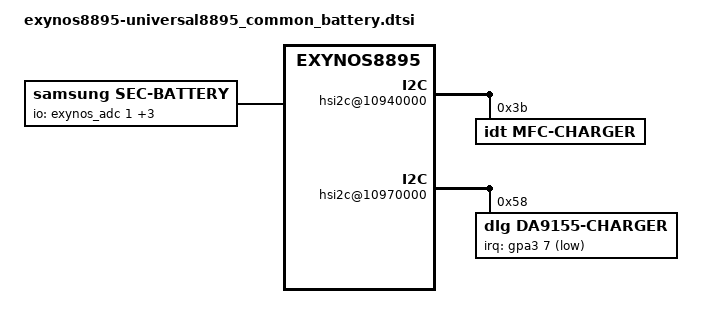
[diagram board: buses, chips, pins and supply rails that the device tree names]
/*
 * SAMSUNG UNIVERSAL5433 board device tree source
 *
 * Copyright (c) 2013 Samsung Electronics Co., Ltd.
 *		http://www.samsung.com
 *
 * This program is free software; you can redistribute it and/or modify
 * it under the terms of the GNU General Public License version 2 as
 * published by the Free Software Foundation.
*/

/ {
	pinctrl@164B0000 {
		wpc_int: wpc-int {
			samsung,pins = "gpa3-2";
			samsung,pin-function = <0xf>;
			samsung,pin-pud = <0>;
			samsung,pin-drv = <0>;
		};

		wpc_det: wpc-det {
			samsung,pins = "gpa2-0";
			samsung,pin-function = <0xf>;
			samsung,pin-pud = <1>;
		};

		da9155_irq: da9155-irq {
			samsung,pins = "gpa3-7";
			samsung,pin-function = <0xf>;
			samsung,pin-pud = <0>;
			samsung,pin-drv = <0>;
		};
	};

	pinctrl@10980000 {
		wpc_en: wpc-en {
			samsung,pins = "gpe6-2";
			samsung,pin-function = <1>;
			samsung,pin-pud = <0>;
			samsung,pin-drv = <0>;
		};
	};

	hsi2c@10940000 { /* hsi2c_usi12_0 */
		status = "okay";

		mfc-charger@3b {
			compatible = "idt,mfc-charger";
			reg = <0x3b>;
			status = "okay";

			pinctrl-names = "default";
			pinctrl-0 = <&wpc_int &wpc_det &wpc_en>;

			battery,wpc_int = <&gpa3 2 0>;
			battery,wpc_det = <&gpa2 0 0>;

			battery,charger_name = "max77854-charger";
			battery,wireless_charger_name = "mfc-charger";
			battery,fod_wpc_data = <204 12 150 30 130 57 130 57 157 8 157 9>;
			battery,fod_pma_data = <204 12 150 30 130 57 130 57 157 8 157 9>;
			battery,fod_a4wp_data = <204 12 150 30 130 57 130 57 157 8 157 9>;
			battery,fod_wpc_data_cv = <204 42 150 60 130 87 130 87 157 38 157 39>;
			battery,fod_pma_data_cv = <204 42 150 60 130 87 130 87 157 38 157 39>;
			battery,fod_a4wp_data_cv = <204 42 150 60 130 87 130 87 157 38 157 39>;
			battery,wpc_cc_cv_vout = <5500>;
			battery,wpc_cv_call_vout = <5000>;
			battery,wpc_cc_call_vout = <5000>;
			battery,hv_vout_wa = <0x41>; /* WC vout 10.0V */
		};
	};

	hsi2c@10970000 { /* hsi2c_usi13_1 */
		status = "okay";
		da9155-charger@58 {
			status = "okay";
			compatible = "dlg,da9155-charger";
			pinctrl-names = "default";
			pinctrl-0 = <&da9155_irq>;
			reg = <0x58>;
			da9155-charger,irq-gpio = <&gpa3 7 1>;
		};
	};

	battery {
		status = "okay";
		compatible = "samsung,sec-battery";

		pinctrl-names = "default";
		/* battery,irq_gpio = <&gpa1 6 0>; */

		battery,vendor = "SDI SDI";
		battery,charger_name = "sec-multi-charger";
		battery,fuelgauge_name = "max77854-fuelgauge";
		battery,wireless_charger_name = "mfc-charger";
		battery,technology = <2>; /* POWER_SUPPLY_TECHNOLOGY_LION */
		battery,fgsrc_switch_name = "max77854-charger"; /* Fuelgauge voltage source */

		battery,batt_data_version = <2>;

		battery,chip_vendor = "LSI";
		battery,temp_adc_type = <0>; /* SEC_BATTERY_ADC_TYPE_AP */

		battery,chg_thermal_source = <1>;
		battery,chg_temp_check = <0>;
		battery,slave_chg_temp_check = <0>;
		battery,wpc_thermal_source = <1>;
		battery,wpc_temp_check = <0>;

		battery,polling_time = <10 30 30 30 3600>;

		battery,temp_table_adc = <416 473 555 649 756 832 886 940 1025 1094 1127 1196 1269 1384 1588
						1809 1947 2041 2276 2515 2745 2960 3037 3157 3261 3329 3385 3470 3593 3701>;
		battery,temp_table_data = <800 750 700 650 600 570 550 530 500 480 470 450 430 400 360
						310 280 260 210 160 100 50 30 0 (-30) (-50) (-70) (-100) (-150) (-200)>;

		battery,chg_temp_table_adc = <395 472 556 645 754 824 870 934 1017 1084 1104 1190 1263 1378 1498
						1663 1798 1922 2028 2265 2507 2723 2944 3027 3145 3248 3313 3381 3465 3583 3690>;
		battery,chg_temp_table_data = <800 750 700 650 600 570 550 530 500 480 470 450 430 400 370
						350 330 300 270 250 200 150 100 50 30 0 (-30) (-50) (-70) (-100) (-150) (-200)>;

		battery,wpc_temp_table_adc = <395 472 556 645 754 824 870 934 1017 1084 1104 1190 1263 1378 1498
						1663 1798 1922 2028 2265 2507 2723 2944 3027 3145 3248 3313 3381 3465 3583 3690>;
		battery,wpc_temp_table_data = <800 750 700 650 600 570 550 530 500 480 470 450 430 400 370
						350 330 300 270 250 200 150 100 50 30 0 (-30) (-50) (-70) (-100) (-150) (-200)>;

		battery,input_current_limit = <2000 450 450 2000 500 900 1500 460 1000 450 900 900 900 1900 2000 450 450 400 700 1300 300 1000 1500 450 1675 2000 1000 1675 80 1800 1675 1400 1000 1000 700 900 900 900 500 2000>;
		battery,fast_charging_current = <2100 450 450 2100 800 1200 1500 460 1200 450 2100 2100 2100 1600 2100 450 450 400 700 1300 300 1000 1500 450 3000 3500 1000 3000 80 1800 1000 1400 450 1000 2100 2100 2100 2100 450 3000>;
		battery,full_check_current_1st = <350 0 0 350 350 350 350 350 350 0 350 350 350 350 350 0 0 350 350 350 350 350 350 0 350 350 350 350 0 350 350 350 0 350 350 350 350 350 350 350>;
		battery,full_check_current_2nd = <150 0 0 150 150 150 150 150 150 0 150 150 150 150 150 0 0 150 150 150 150 150 150 0 150 150 150 150 0 150 150 150 0 150 150 150 150 150 150 150>;

		battery,wireless_cc_cv = <85>;
		battery,fod_data = <204 9 150 28 130 55 130 57 157 5 157 6>;
		battery,fod_data_cv = <204 39 150 58 130 85 130 87 157 35 157 36>;
		battery,wpc_cc_cv_vout = <5500>;
		battery,wpc_cv_call_vout = <5000>;
		battery,wpc_cc_call_vout = <5000>;
		battery,wpc_det = <&gpa2 0 0>;
		battery,wpc_en = <&gpi1 2 0>;
		battery,wpc_int = <&gpa3 2 0>;
		battery,hv_vout_wa = <0x41>; /* WC vout 10.0V */
		battery,adc_check_count = <5>;

		battery,cable_check_type = <4>; /* SEC_BATTERY_CABLE_CHECK_PSY */
		battery,cable_source_type = <1>; /* SEC_BATTERY_CABLE_SOURCE_EXTERNAL */
		battery,polling_type = <1>; /* SEC_BATTERY_MONITOR_ALARM */
		battery,monitor_initial_count = <0>;

		battery,battery_check_type = <0>; /* SEC_BATTERY_CHECK_NONE */
		battery,check_count = <0>;
		battery,check_adc_max = <1440>;
		battery,check_adc_min = <0>;

		battery,ovp_uvlo_check_type = <3>; /* SEC_BATTERY_OVP_UVLO_CHGPOLLING */

		battery,thermal_source = <0>; /* SEC_BATTERY_THERMAL_SOURCE_ADC */

		battery,temp_check_type = <0>; /* SEC_BATTERY_TEMP_CHECK_TEMP */
		battery,temp_check_count = <1>;
		battery,temp_highlimit_threshold_event = <800>;
		battery,temp_highlimit_recovery_event = <750>;
		battery,temp_high_threshold_event = <550>;
		battery,temp_high_recovery_event = <500>;
		battery,temp_low_threshold_event = <(-50)>;
		battery,temp_low_recovery_event = <0>;
		battery,temp_highlimit_threshold_normal = <800>;
		battery,temp_highlimit_recovery_normal = <750>;
		battery,temp_high_threshold_normal = <550>;
		battery,temp_high_recovery_normal = <500>;
		battery,temp_low_threshold_normal = <(-50)>;
		battery,temp_low_recovery_normal = <0>;
		battery,temp_highlimit_threshold_lpm = <800>;
		battery,temp_highlimit_recovery_lpm = <750>;
		battery,temp_high_threshold_lpm = <550>;
		battery,temp_high_recovery_lpm = <500>;
		battery,temp_low_threshold_lpm = <(-50)>;
		battery,temp_low_recovery_lpm = <0>;
		battery,full_check_type = <7>; /* SEC_BATTERY_FULLCHARGED_CHGPSY */
		battery,full_check_type_2nd = <7>; /* SEC_BATTERY_FULLCHARGED_CHGPSY */
		battery,full_check_count = <1>;
		battery,chg_gpio_full_check = <0>;
		battery,chg_polarity_full_check = <1>;

		battery,chg_12v_high_temp = <615>;
		battery,chg_high_temp = <500>;
		battery,chg_high_temp_recovery = <495>;
		/* battery,chg_charging_limit_current = <1100>; */

		battery,wpc_high_temp = <460 490>;
		battery,wpc_high_temp_recovery = <459 400>;
		battery,wpc_charging_limit_current = <540 400>;
		battery,wpc_lcd_on_high_temp = <470>;
		battery,wpc_lcd_on_high_temp_rec = <300>;
		battery,wpc_hv_lcd_on_input_limit_current = <400>;

		battery,sleep_mode_limit_current = <500>;
		battery,wc_full_input_limit_current = <100>;
		battery,wc_heating_input_limit_current = <400>;
		battery,wc_heating_time = <300>; /* 5 min */
		battery,wc_cv_current = <820>;
		battery,wc_cv_pack_current = <630>;

		battery,mix_high_temp = <420>;
		battery,mix_high_chg_temp = <500>;
		battery,mix_high_temp_recovery = <390>;

		/* SEC_BATTERY_FULL_CONDITION_SOC |
		   SEC_BATTERY_FULL_CONDITION_NOTIMEFULL |
		   SEC_BATTERY_FULL_CONDITION_VCELL */
		battery,full_condition_type = <13>;
		battery,full_condition_soc = <93>;
		battery,full_condition_vcell = <4275>;

		battery,recharge_check_count = <1>;
		battery,recharge_condition_type = <4>; /* SEC_BATTERY_RECHARGE_CONDITION_VCELL */
		battery,recharge_condition_soc = <98>;
		battery,recharge_condition_vcell = <4300>;

		battery,charging_total_time = <21600>;
		battery,recharging_total_time = <5400>;
		battery,charging_reset_time = <0>;

		battery,chg_float_voltage = <43625>;

		battery,swelling_high_temp_block = <450>;
		battery,swelling_high_temp_recov = <400>;
		battery,swelling_low_temp_block = <100>;
		battery,swelling_low_temp_recov = <150>;
		battery,swelling_low_temp_additional = <50>;

		battery,swelling_low_temp_current = <1750>;	/* 0.5C */
		battery,swelling_low_temp_additional_current = <700>;	/* 0.2C */
		battery,swelling_low_temp_topoff = <175>;	/* 0.05C */
		battery,swelling_high_temp_current = <2450>;	/* 0.7C */
		battery,swelling_high_temp_topoff = <175>;	/* 0.05C */

		battery,swelling_drop_float_voltage = <41875>;
		battery,swelling_high_rechg_voltage = <4150>;
		battery,swelling_low_rechg_voltage = <4050>;

		battery,self_discharging_temp_block = <600>;
		battery,self_discharging_volt_block = <4250>;
		battery,self_discharging_temp_recov = <550>;
		battery,self_discharging_temp_pollingtime = <400>;

		battery,siop_event_check_type = <1>;
		battery,siop_call_cv_current = <330>;
		battery,siop_call_cc_current = <330>;

		battery,siop_input_limit_current = <1200>;
		battery,siop_charging_limit_current = <1000>;
		battery,siop_hv_input_limit_current = <700>;
		battery,siop_hv_charging_limit_current = <1000>;
		battery,siop_hv_12v_input_limit_current = <535>;
		battery,siop_hv_12v_charging_limit_current = <1000>;

		battery,siop_wireless_input_limit_current = <600>;
		battery,siop_wireless_charging_limit_current = <1000>;
		battery,siop_hv_wireless_input_limit_current = <600>;
		battery,siop_hv_wireless_charging_limit_current = <1000>;

                battery,ttf_hv_12v_charge_current = <3000>;
		battery,ttf_hv_charge_current = <2700>;
		battery,ttf_hv_wireless_charge_current = <1400>;

		/* cycle, chg_float_voltage, recharge_condition_vcell, full_condition_vcell, full_condition_soc */
		battery,age_data = <0 43625 4312 4275 93
				300 43250 4275 4210 89
				500 42875 4237 4170 85>;

		battery,step_charging_type = <0x5>;
		battery,step_charging_charge_power = <20000>;
		battery,step_charging_condtion = <4100 4400>;
		battery,step_charging_current = <4200 3000>;

		battery,max_input_voltage = <12000>; /* mV */
		battery,max_input_current = <3000>;  /* mA */

		io-channels = <&exynos_adc 1>, <&exynos_adc 3>, <&exynos_adc 6>, <&exynos_adc 3>;
		io-channel-names = "adc-temp", "adc-chg-temp", "adc-in-bat", "adc-wpc-temp";
		#io-channel-cells = <3>;
		io-channel-ranges;
	};

	sec-multi-charger {
		status = "okay";
		compatible = "samsung,sec-multi-charger";

		charger,battery_name = "battery";
		charger,main_charger = "max77854-charger";
		charger,sub_charger = "da9155-charger";

		charger,is_serial = <1>;

		charger,sub_charger_condition = <0x71>;
		charger,sub_charger_condition_current_max = <1000>;
		charger,sub_charger_condition_online = <24 25 38>;
		charger,sub_charger_condition_charge_power = <15000>;
	};

	max77854-fuelgauge {
		status = "okay";
		fuelgauge,fuel_alert_soc = <1>;
		fuelgauge,capacity_max = <1000>;
		fuelgauge,capacity_max_margin = <200>;
		fuelgauge,capacity_min = <0>;
		fuelgauge,capacity_calculation_type = <28>;
		fuelgauge,repeated_fuelalert;
		fuelgauge,using_temp_compensation;
		fuelgauge,low_temp_limit = <100>;
		fuelgauge,using_hw_vempty;
		fuelgauge,v_empty = <0xA7E2>; /* Empty: 3260mV, Recover: 3480mV */
		fuelgauge,v_empty_origin = <0x7D54>; /* Empty: 2500mV, Recover: 3360mV */
		fuelgauge,sw_v_empty_voltage = <3200>;
		fuelgauge,sw_v_empty_recover_voltage = <3480>;
		fuelgauge,qrtable20 = <0x0D00>;
		fuelgauge,qrtable30 = <0x0A81>;
		fuelgauge,fg_resistor = <1>;
		fuelgauge,capacity = <0x0D1E>;
		/*fuelgauge,auto_discharge_en;*/
		fuelgauge,discharge_temp_threshold = <600>;
		fuelgauge,discharge_volt_threshold = <4200>;
		fuelgauge,cv_data = <
			2590   714    2518
			2448   721    2481
			2230   734    2412
			2171   748    2337
			1999   761    2257
			1839   772    2186
			1703   783    2106
			1712   783    2104
			1605   791    2043
			1473   805    1934
			1390   813    1868
			1325   820    1802
			1232   828    1722
			1208   828    1721
			1110   840    1594
			1078   843    1555
			1008   850    1469
			890    860    1340
			860    865    1272
			782    872    1167
			726    879    1049
			673    886    938 
			593    901    819 
			520    939    573 
			470    955    453 
			450    961    403 
			440    964    383 
			391    969    332  
			386    987    186 
			375    995    92  
			347    1000   0   
			>;
	};
};
